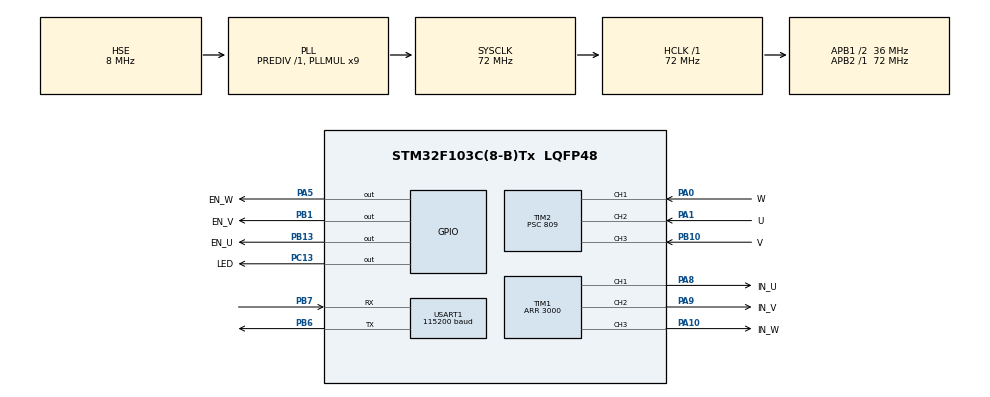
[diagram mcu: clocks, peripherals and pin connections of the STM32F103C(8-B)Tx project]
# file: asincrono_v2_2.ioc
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Mcu.Family=STM32F1
Mcu.Name=STM32F103C(8-B)Tx
Mcu.Package=LQFP48
NVIC.PriorityGroup=NVIC_PRIORITYGROUP_4
NVIC.TIM2_IRQn=true\:0\:0\:false\:false\:true\:true\:true\:true
NVIC.TIM3_IRQn=true\:0\:0\:false\:false\:true\:true\:true\:true
NVIC.TIM4_IRQn=true\:1\:0\:true\:false\:true\:true\:true\:true
NVIC.USART1_IRQn=true\:0\:0\:false\:false\:true\:true\:true\:true
PA0-WKUP.GPIO_Label=W
PA0-WKUP.GPIO_PuPd=GPIO_PULLUP
PA0-WKUP.Signal=S_TIM2_CH1_ETR
PA1.GPIO_Label=U
PA1.GPIO_PuPd=GPIO_PULLUP
PA1.Signal=S_TIM2_CH2
PA10.GPIO_Label=IN_W
PA10.Signal=S_TIM1_CH3
PA13.Mode=Serial_Wire
PA13.Signal=SYS_JTMS-SWDIO
PA14.Mode=Serial_Wire
PA14.Signal=SYS_JTCK-SWCLK
PA5.GPIO_Label=EN_W
PA5.GPIO_ModeDefaultOutputPP=GPIO_MODE_OUTPUT_PP
PA5.GPIO_PuPd=GPIO_NOPULL
PA5.GPIO_Speed=GPIO_SPEED_FREQ_LOW
PA5.Signal=GPIO_Output
PA8.GPIO_Label=IN_U
PA8.Signal=S_TIM1_CH1
PA9.GPIO_Label=IN_V
PA9.Signal=S_TIM1_CH2
PB1.GPIO_Label=EN_V
PB1.GPIO_ModeDefaultOutputPP=GPIO_MODE_OUTPUT_PP
PB1.GPIO_PuPd=GPIO_NOPULL
PB1.GPIO_Speed=GPIO_SPEED_FREQ_LOW
PB1.Signal=GPIO_Output
PB10.GPIO_Label=V
PB10.GPIO_PuPd=GPIO_PULLUP
PB10.Signal=S_TIM2_CH3
PB13.GPIO_Label=EN_U
PB13.GPIO_ModeDefaultOutputPP=GPIO_MODE_OUTPUT_PP
PB13.GPIO_PuPd=GPIO_NOPULL
PB13.GPIO_Speed=GPIO_SPEED_FREQ_LOW
PB13.Signal=GPIO_Output
PB6.Mode=Asynchronous
PB6.Signal=USART1_TX
PB7.Mode=Asynchronous
PB7.Signal=USART1_RX
PC13-TAMPER-RTC.GPIO_Label=LED
PC13-TAMPER-RTC.Signal=GPIO_Output
PD0-OSC_IN.Mode=HSE-External-Oscillator
PD0-OSC_IN.Signal=RCC_OSC_IN
PD1-OSC_OUT.Mode=HSE-External-Oscillator
PD1-OSC_OUT.Signal=RCC_OSC_OUT
ProjectManager.HeapSize=0x200
ProjectManager.StackSize=0x400
ProjectManager.TargetToolchain=CMake
RCC.ADCPresc=RCC_ADCPCLK2_DIV8
RCC.AHBFreq_Value=72000000
RCC.APB1CLKDivider=RCC_HCLK_DIV2
RCC.APB1Freq_Value=36000000
RCC.APB1TimFreq_Value=72000000
RCC.APB2Freq_Value=72000000
RCC.APB2TimFreq_Value=72000000
RCC.HCLKFreq_Value=72000000
RCC.PLLMUL=RCC_PLL_MUL9
RCC.PLLSourceVirtual=RCC_PLLSOURCE_HSE
RCC.SYSCLKFreq_VALUE=72000000
RCC.SYSCLKSource=RCC_SYSCLKSOURCE_PLLCLK
RCC.USBFreq_Value=72000000
SH.S_TIM1_CH1.0=TIM1_CH1,PWM Generation1 CH1
SH.S_TIM1_CH2.0=TIM1_CH2,PWM Generation2 CH2
SH.S_TIM1_CH3.0=TIM1_CH3,PWM Generation3 CH3
SH.S_TIM2_CH1_ETR.0=TIM2_CH1,Input_Capture1_from_TI1
SH.S_TIM2_CH2.0=TIM2_CH2,Input_Capture2_from_TI2
SH.S_TIM2_CH3.0=TIM2_CH3,Input_Capture3_from_TI3
TIM1.AutoReloadPreload=TIM_AUTORELOAD_PRELOAD_ENABLE
TIM1.Channel-PWM\ Generation1\ CH1=TIM_CHANNEL_1
TIM1.Channel-PWM\ Generation2\ CH2=TIM_CHANNEL_2
TIM1.Channel-PWM\ Generation3\ CH3=TIM_CHANNEL_3
TIM1.CounterMode=TIM_COUNTERMODE_CENTERALIGNED1
TIM1.Period=3000
TIM2.Channel-Input_Capture1_from_TI1=TIM_CHANNEL_1
TIM2.Channel-Input_Capture2_from_TI2=TIM_CHANNEL_2
TIM2.Channel-Input_Capture3_from_TI3=TIM_CHANNEL_3
TIM2.ICFilter_CH1=15
TIM2.ICFilter_CH2=15
TIM2.ICFilter_CH3=15
TIM2.ICPolarity_CH1=TIM_INPUTCHANNELPOLARITY_FALLING
TIM2.ICPolarity_CH2=TIM_INPUTCHANNELPOLARITY_FALLING
TIM2.ICPolarity_CH3=TIM_INPUTCHANNELPOLARITY_FALLING
TIM2.ICPrescaler-Input_Capture1_from_TI1=TIM_ICPSC_DIV1
TIM2.ICPrescaler-Input_Capture2_from_TI2=TIM_ICPSC_DIV1
TIM2.ICPrescaler-Input_Capture3_from_TI3=TIM_ICPSC_DIV1
TIM2.Prescaler=809
TIM3.Channel-Output\ Compare1\ No\ Output=TIM_CHANNEL_1
TIM3.Prescaler=71
TIM4.AutoReloadPreload=TIM_AUTORELOAD_PRELOAD_ENABLE
TIM4.Channel-Output\ Compare1\ No\ Output=TIM_CHANNEL_1
TIM4.Channel-Output\ Compare2\ No\ Output=TIM_CHANNEL_2
TIM4.Channel-Output\ Compare3\ No\ Output=TIM_CHANNEL_3
TIM4.ClockDivision=TIM_CLOCKDIVISION_DIV1
TIM4.OC1Preload=ENABLE
TIM4.Period=19999
TIM4.Prescaler=7199
USART1.BaudRate=115200
USART1.VirtualMode=VM_ASYNC
VP_CRC_VS_CRC.Mode=CRC_Activate
VP_TIM1_VS_ClockSourceINT.Mode=Internal
VP_TIM2_VS_ClockSourceINT.Mode=Internal
VP_TIM3_VS_ClockSourceINT.Mode=Internal
VP_TIM3_VS_no_output1.Mode=Output Compare1 No Output
VP_TIM4_VS_ClockSourceINT.Mode=Internal
VP_TIM4_VS_no_output1.Mode=Output Compare1 No Output
VP_TIM4_VS_no_output2.Mode=Output Compare2 No Output
VP_TIM4_VS_no_output3.Mode=Output Compare3 No Output
board=custom

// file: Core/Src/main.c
/* USER CODE BEGIN Header */
/**
  ******************************************************************************
  * @file           : main.c
  * @brief          : Main program body
  ******************************************************************************
  * @attention
  *
  * Copyright (c) 2025 STMicroelectronics.
  * All rights reserved.
  *
  * This software is licensed under terms that can be found in the LICENSE file
  * in the root directory of this software component.
  * If no LICENSE file comes with this software, it is provided AS-IS.
  *
  ******************************************************************************
  */
/* USER CODE END Header */
#include "main.h"
#include "crc.h"
#include "tim.h"
#include "usart.h"
#include "gpio.h"

/* USER CODE BEGIN PV */

 long map(long x, long in_min, long in_max, long out_min, long out_max) {
	return (x - in_min) * (out_max - out_min) / (in_max - in_min) + out_min;
}

const uint32_t CPU_clock = 72000000;
/* USER CODE END PV */

void SystemClock_Config(void);
/* USER CODE BEGIN PFP */

volatile uint32_t led_tick = 0;

/* USER CODE END PFP */

/* USER CODE BEGIN 0 */
int _write(int file, char *ptr, int len){
	int i = 0;
	for(i = 0; i < len; i++){
		ITM_SendChar((*ptr++));
	}
	return len;
}
volatile uint8_t count = 0;
/* USER CODE END 0 */

int main(void)
{

  /* MCU Configuration--------------------------------------------------------*/

  /* Reset of all peripherals, Initializes the Flash interface and the Systick. */
  HAL_Init();

  /* Configure the system clock */
  SystemClock_Config();

  /* Initialize all configured peripherals */
  MX_GPIO_Init();
  MX_TIM4_Init();
  MX_TIM2_Init();
  MX_TIM1_Init();
  MX_CRC_Init();
  MX_TIM3_Init();
  MX_USART1_UART_Init();
  /* USER CODE BEGIN 2 */
  HAL_GPIO_WritePin(LED_GPIO_Port, LED_Pin, GPIO_PIN_RESET);
  TIM1->PSC = 0;
  TIM2->PSC = 399;
  TIM3->PSC = TIM2->PSC;
  HAL_TIM_IC_Start_IT(&htim2, TIM_CHANNEL_1);
  HAL_TIM_IC_Start_IT(&htim2, TIM_CHANNEL_2);
  HAL_TIM_IC_Start_IT(&htim2, TIM_CHANNEL_3);

  motor_detection();
  volatile uint32_t last_led_tick = 0;

  /* USER CODE END 2 */

  /* Infinite loop */
  /* USER CODE BEGIN WHILE */
  while (1)
  {
      handleState();
      check_motor_status();
      // Manejo robusto del overflow de led_tick usando aritmética de enteros sin signo
      if ((uint32_t)(led_tick - last_led_tick) >= 200) {
          HAL_GPIO_TogglePin(LED_GPIO_Port, LED_Pin);
          last_led_tick = led_tick;
      }
    /* USER CODE END WHILE */

  }
}

void SystemClock_Config(void)
{
  RCC_OscInitTypeDef RCC_OscInitStruct = {0};
  RCC_ClkInitTypeDef RCC_ClkInitStruct = {0};

  /** Initializes the RCC Oscillators according to the specified parameters
  * in the RCC_OscInitTypeDef structure.
  */
  RCC_OscInitStruct.OscillatorType = RCC_OSCILLATORTYPE_HSE;
  RCC_OscInitStruct.HSEState = RCC_HSE_ON;
  RCC_OscInitStruct.HSEPredivValue = RCC_HSE_PREDIV_DIV1;
  RCC_OscInitStruct.HSIState = RCC_HSI_ON;
  RCC_OscInitStruct.PLL.PLLState = RCC_PLL_ON;
  RCC_OscInitStruct.PLL.PLLSource = RCC_PLLSOURCE_HSE;
  RCC_OscInitStruct.PLL.PLLMUL = RCC_PLL_MUL9;
  if (HAL_RCC_OscConfig(&RCC_OscInitStruct) != HAL_OK)
  {
    Error_Handler();
  }

  /** Initializes the CPU, AHB and APB buses clocks
  */
  RCC_ClkInitStruct.ClockType = RCC_CLOCKTYPE_HCLK|RCC_CLOCKTYPE_SYSCLK
                              |RCC_CLOCKTYPE_PCLK1|RCC_CLOCKTYPE_PCLK2;
  RCC_ClkInitStruct.SYSCLKSource = RCC_SYSCLKSOURCE_PLLCLK;
  RCC_ClkInitStruct.AHBCLKDivider = RCC_SYSCLK_DIV1;
  RCC_ClkInitStruct.APB1CLKDivider = RCC_HCLK_DIV2;
  RCC_ClkInitStruct.APB2CLKDivider = RCC_HCLK_DIV1;

  if (HAL_RCC_ClockConfig(&RCC_ClkInitStruct, FLASH_LATENCY_2) != HAL_OK)
  {
    Error_Handler();
  }
}

void Error_Handler(void)
{
  __disable_irq();
  while (1)
  {
  }
}
